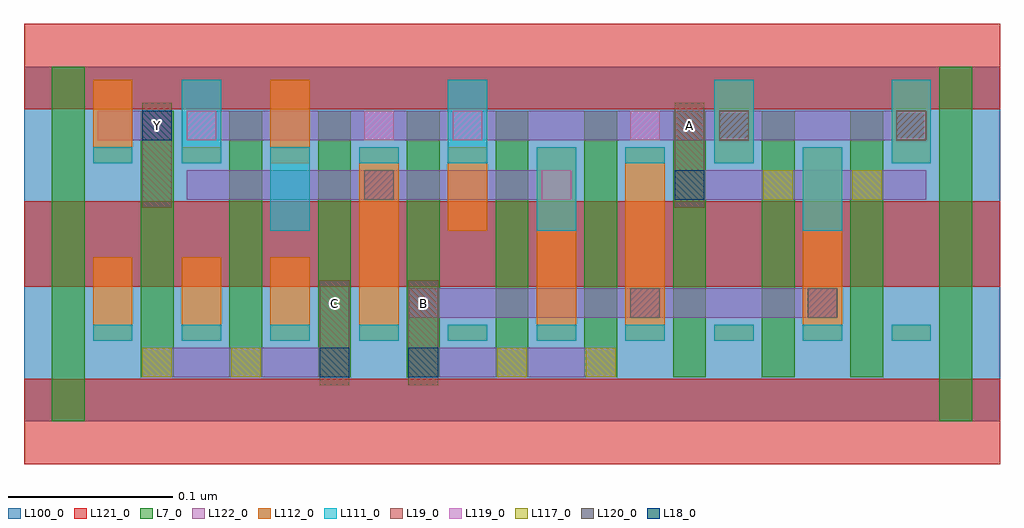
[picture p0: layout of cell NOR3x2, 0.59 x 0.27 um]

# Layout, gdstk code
import gdstk
lib = gdstk.Library(unit=1e-6, precision=2.5e-10)
def R(c, l, rs):  # rectangles x0, y0, x1, y1
    for r in rs: c.add(gdstk.rectangle(r[:2], r[2:], *l))
def A(c, l, x, y, w, h, nx, ny, dx, dy):  # array of equal rectangles
    R(c, l, [(x+i*dx, y+j*dy, x+i*dx+w, y+j*dy+h) for i in range(nx) for j in range(ny)])
L7_0 = (7, 0)
L18_0 = (18, 0)
L19_0 = (19, 0)
L100_0 = (100, 0)
L111_0 = (111, 0)
L112_0 = (112, 0)
L117_0 = (117, 0)
L119_0 = (119, 0)
L120_0 = (120, 0)
L121_0 = (121, 0)
L122_0 = (122, 0)

nor3x2 = lib.new_cell('NOR3x2')
A(nor3x2, L7_0, 0.071, 0.027, 0.02, 0.081, 9, 2, 0.054, 0.081)
R(nor3x2, L7_0, [(0.017,0,0.037,0.108), (0.557,0,0.577,0.108), (0.017,0.108,0.037,0.216), (0.557,0.108,0.577,0.216)])
R(nor3x2, L18_0, [(0.18,0.027,0.198,0.045), (0.234,0.027,0.252,0.045), (0.396,0.135,0.414,0.153), (0.072,0.171,0.09,0.189)])
R(nor3x2, L19_0, [(0.18,0.022,0.198,0.086), (0.234,0.022,0.252,0.086), (0.072,0.13,0.09,0.194), (0.396,0.13,0.414,0.194)])
R(nor3x2, L100_0, [(0,0,0.594,0.216)])
A(nor3x2, L111_0, 0.042, 0.049, 0.024, 0.01, 10, 1, 0.054, 0)
A(nor3x2, L111_0, 0.15, 0.116, 0.024, 0.051, 3, 1, 0.162, 0)
A(nor3x2, L111_0, 0.042, 0.157, 0.024, 0.01, 3, 1, 0.162, 0)
A(nor3x2, L111_0, 0.096, 0.157, 0.024, 0.051, 3, 1, 0.162, 0)
R(nor3x2, L111_0, [(0.528,0.157,0.552,0.208)])
A(nor3x2, L112_0, 0.042, 0.049, 0.024, 0.051, 3, 1, 0.054, 0)
R(nor3x2, L112_0, [(0.204,0.049,0.228,0.108), (0.258,0.049,0.282,0.059), (0.312,0.049,0.336,0.108), (0.366,0.049,0.39,0.108), (0.42,0.049,0.444,0.059), (0.474,0.049,0.498,0.108), (0.528,0.049,0.552,0.059), (0.204,0.108,0.228,0.167), (0.312,0.108,0.336,0.167), (0.366,0.108,0.39,0.167), (0.474,0.108,0.498,0.167), (0.258,0.116,0.282,0.167), (0.042,0.157,0.066,0.208), (0.096,0.157,0.12,0.167), (0.15,0.157,0.174,0.208), (0.42,0.157,0.444,0.208), (0.528,0.157,0.552,0.208)])
A(nor3x2, L117_0, 0.072, 0.027, 0.018, 0.018, 6, 1, 0.054, 0)
A(nor3x2, L117_0, 0.396, 0.135, 0.018, 0.018, 3, 1, 0.054, 0)
R(nor3x2, L119_0, [(0.369,0.063,0.387,0.081), (0.477,0.063,0.495,0.081), (0.207,0.135,0.225,0.153), (0.315,0.135,0.333,0.153), (0.099,0.171,0.117,0.189), (0.207,0.171,0.225,0.189), (0.261,0.171,0.279,0.189), (0.369,0.171,0.387,0.189), (0.423,0.171,0.441,0.189), (0.531,0.171,0.549,0.189)])
R(nor3x2, L120_0, [(0.369,0.063,0.387,0.081), (0.477,0.063,0.495,0.081), (0.207,0.135,0.225,0.153), (0.423,0.171,0.441,0.189), (0.531,0.171,0.549,0.189)])
A(nor3x2, L121_0, 0, -0.026, 0.594, 0.052, 1, 3, 0, 0.108)
R(nor3x2, L122_0, [(0.072,0.027,0.198,0.045), (0.234,0.027,0.36,0.045), (0.234,0.063,0.495,0.081), (0.099,0.135,0.333,0.153), (0.396,0.135,0.549,0.153), (0.045,0.171,0.09,0.189), (0.099,0.171,0.549,0.189)])
nor3x2.add(gdstk.Label('Y', (0.081,0.18), layer=19, texttype=251))
nor3x2.add(gdstk.Label('C', (0.189,0.072), layer=19, texttype=251))
nor3x2.add(gdstk.Label('B', (0.243,0.072), layer=19, texttype=251))
nor3x2.add(gdstk.Label('A', (0.405,0.18), layer=19, texttype=251))

lib.write_gds('NOR3x2.gds')
